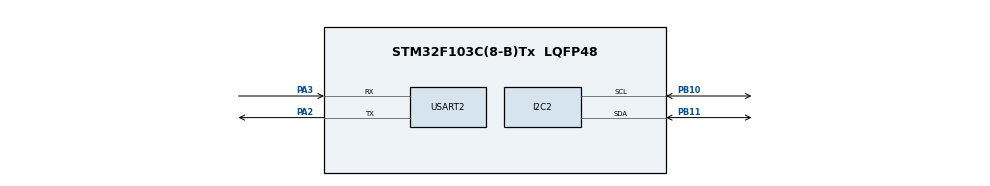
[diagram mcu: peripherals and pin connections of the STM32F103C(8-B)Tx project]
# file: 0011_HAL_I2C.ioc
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Mcu.Family=STM32F1
Mcu.Name=STM32F103C(8-B)Tx
Mcu.Package=LQFP48
NVIC.PriorityGroup=NVIC_PRIORITYGROUP_4
NVIC.USART2_IRQn=true\:0\:0\:false\:false\:true\:true\:true\:true
PA2.Mode=Asynchronous
PA2.Signal=USART2_TX
PA3.Mode=Asynchronous
PA3.Signal=USART2_RX
PB10.Mode=I2C
PB10.Signal=I2C2_SCL
PB11.Mode=I2C
PB11.Signal=I2C2_SDA
ProjectManager.HeapSize=0x200
ProjectManager.StackSize=0x400
ProjectManager.TargetToolchain=STM32CubeIDE
RCC.APB1Freq_Value=8000000
RCC.APB2Freq_Value=8000000
USART2.VirtualMode=VM_ASYNC
VP_SYS_VS_ND.Mode=No_Debug
board=custom

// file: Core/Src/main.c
/* USER CODE BEGIN Header */
/**
  ******************************************************************************
  * @file           : main.c
  * @brief          : Main program body
  ******************************************************************************
  * @attention
  *
  * Copyright (c) 2025 STMicroelectronics.
  * All rights reserved.
  *
  * This software is licensed under terms that can be found in the LICENSE file
  * in the root directory of this software component.
  * If no LICENSE file comes with this software, it is provided AS-IS.
  *
  ******************************************************************************
  */
/* USER CODE END Header */
#include "main.h"

/* USER CODE BEGIN Includes */
#include <stdio.h>
/* USER CODE END Includes */

I2C_HandleTypeDef hi2c2;

UART_HandleTypeDef huart2;

void SystemClock_Config(void);
static void MX_GPIO_Init(void);
static void MX_USART2_UART_Init(void);
static void MX_I2C2_Init(void);

/* USER CODE BEGIN 0 */
#define rxBuffer 6
uint8_t rxData[rxBuffer];
uint8_t i2cAddr = 0X0C;
/* USER CODE END 0 */

int main(void)
{

  /* MCU Configuration--------------------------------------------------------*/

  /* Reset of all peripherals, Initializes the Flash interface and the Systick. */
  HAL_Init();

  /* Configure the system clock */
  SystemClock_Config();

  /* Initialize all configured peripherals */
  MX_GPIO_Init();
  MX_USART2_UART_Init();
  MX_I2C2_Init();
  /* USER CODE BEGIN 2 */
  if(HAL_I2C_IsDeviceReady(&hi2c2, (i2cAddr << 1), 5, 1000) == HAL_OK){
	  printf("I2C Master Ready!");
  }
  else{
	  printf("I2C BUS ISSUE!!!");
  }

  HAL_Delay(2000);

  /* USER CODE END 2 */

  /* Infinite loop */
  while (1){

    /* USER CODE BEGIN 3 */
	  if( HAL_OK == (HAL_I2C_Master_Receive(&hi2c2, (i2cAddr << 1), (uint8_t*)rxData, rxBuffer - 1, 100))){
		  printf("Received: %s\n\r", rxData);
	  }
	  else{
		  printf("Failed to connect\n\r");
	  }
	  HAL_Delay(500);
  }
  /* USER CODE END 3 */
}

void SystemClock_Config(void)
{
  RCC_OscInitTypeDef RCC_OscInitStruct = {0};
  RCC_ClkInitTypeDef RCC_ClkInitStruct = {0};

  /** Initializes the RCC Oscillators according to the specified parameters
  * in the RCC_OscInitTypeDef structure.
  */
  RCC_OscInitStruct.OscillatorType = RCC_OSCILLATORTYPE_HSI;
  RCC_OscInitStruct.HSIState = RCC_HSI_ON;
  RCC_OscInitStruct.HSICalibrationValue = RCC_HSICALIBRATION_DEFAULT;
  RCC_OscInitStruct.PLL.PLLState = RCC_PLL_NONE;
  if (HAL_RCC_OscConfig(&RCC_OscInitStruct) != HAL_OK)
  {
    Error_Handler();
  }

  /** Initializes the CPU, AHB and APB buses clocks
  */
  RCC_ClkInitStruct.ClockType = RCC_CLOCKTYPE_HCLK|RCC_CLOCKTYPE_SYSCLK
                              |RCC_CLOCKTYPE_PCLK1|RCC_CLOCKTYPE_PCLK2;
  RCC_ClkInitStruct.SYSCLKSource = RCC_SYSCLKSOURCE_HSI;
  RCC_ClkInitStruct.AHBCLKDivider = RCC_SYSCLK_DIV1;
  RCC_ClkInitStruct.APB1CLKDivider = RCC_HCLK_DIV1;
  RCC_ClkInitStruct.APB2CLKDivider = RCC_HCLK_DIV1;

  if (HAL_RCC_ClockConfig(&RCC_ClkInitStruct, FLASH_LATENCY_0) != HAL_OK)
  {
    Error_Handler();
  }
}

static void MX_I2C2_Init(void)
{

  hi2c2.Instance = I2C2;
  hi2c2.Init.ClockSpeed = 100000;
  hi2c2.Init.DutyCycle = I2C_DUTYCYCLE_2;
  hi2c2.Init.OwnAddress1 = 0;
  hi2c2.Init.AddressingMode = I2C_ADDRESSINGMODE_7BIT;
  hi2c2.Init.DualAddressMode = I2C_DUALADDRESS_DISABLE;
  hi2c2.Init.OwnAddress2 = 0;
  hi2c2.Init.GeneralCallMode = I2C_GENERALCALL_DISABLE;
  hi2c2.Init.NoStretchMode = I2C_NOSTRETCH_DISABLE;
  if (HAL_I2C_Init(&hi2c2) != HAL_OK)
  {
    Error_Handler();
  }

}

static void MX_USART2_UART_Init(void)
{

  huart2.Instance = USART2;
  huart2.Init.BaudRate = 115200;
  huart2.Init.WordLength = UART_WORDLENGTH_8B;
  huart2.Init.StopBits = UART_STOPBITS_1;
  huart2.Init.Parity = UART_PARITY_NONE;
  huart2.Init.Mode = UART_MODE_TX_RX;
  huart2.Init.HwFlowCtl = UART_HWCONTROL_NONE;
  huart2.Init.OverSampling = UART_OVERSAMPLING_16;
  if (HAL_UART_Init(&huart2) != HAL_OK)
  {
    Error_Handler();
  }

}

static void MX_GPIO_Init(void)
{
  /* USER CODE BEGIN MX_GPIO_Init_1 */
//
  /* USER CODE END MX_GPIO_Init_1 */

  /* GPIO Ports Clock Enable */
  __HAL_RCC_GPIOA_CLK_ENABLE();
  __HAL_RCC_GPIOB_CLK_ENABLE();

  /* USER CODE BEGIN MX_GPIO_Init_2 */
//
  /* USER CODE END MX_GPIO_Init_2 */
}

/* USER CODE BEGIN 4 */
int __io_putchar(int ch){
    HAL_UART_Transmit(&huart2, (uint8_t*)&ch, 1, HAL_MAX_DELAY);
    return ch;
}
/* USER CODE END 4 */

void Error_Handler(void)
{
  __disable_irq();
  while (1)
  {
  }
}
